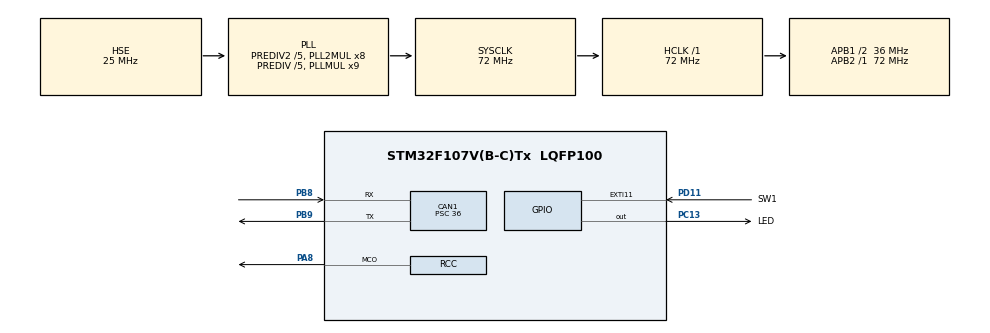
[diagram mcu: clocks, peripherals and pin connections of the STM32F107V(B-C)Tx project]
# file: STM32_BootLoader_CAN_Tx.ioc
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CAN1.BS1=CAN_BS1_6TQ
CAN1.CalculateBaudRate=125000
CAN1.CalculateTimeBit=8000
CAN1.CalculateTimeQuantum=1000.0
CAN1.Prescaler=36
Mcu.Family=STM32F1
Mcu.Name=STM32F107V(B-C)Tx
Mcu.Package=LQFP100
NVIC.CAN1_RX0_IRQn=true\:0\:0\:false\:false\:true\:true\:true\:true
NVIC.EXTI15_10_IRQn=true\:0\:0\:false\:false\:true\:true\:true\:true
NVIC.PriorityGroup=NVIC_PRIORITYGROUP_4
OSC_IN.Mode=HSE-External-Oscillator
OSC_IN.Signal=RCC_OSC_IN
OSC_OUT.Mode=HSE-External-Oscillator
OSC_OUT.Signal=RCC_OSC_OUT
PA13.Mode=JTAG_5_pins
PA13.Signal=SYS_JTMS-SWDIO
PA14.Mode=JTAG_5_pins
PA14.Signal=SYS_JTCK-SWCLK
PA15.Mode=JTAG_5_pins
PA15.Signal=SYS_JTDI
PA8.GPIO_Speed=GPIO_SPEED_FREQ_MEDIUM
PA8.Mode=Clock-out
PA8.Signal=RCC_MCO
PB3.Mode=JTAG_5_pins
PB3.Signal=SYS_JTDO
PB4.Mode=JTAG_5_pins
PB4.Signal=SYS_NJTRST
PB8.Mode=CAN_Activate
PB8.Signal=CAN1_RX
PB9.Mode=CAN_Activate
PB9.Signal=CAN1_TX
PC13-TAMPER-RTC.GPIO_Label=LED
PC13-TAMPER-RTC.Signal=GPIO_Output
PD11.GPIO_Label=SW1
PD11.Signal=GPXTI11
ProjectManager.HeapSize=0x200
ProjectManager.StackSize=0x400
ProjectManager.TargetToolchain=STM32CubeIDE
RCC.AHBFreq_Value=72000000
RCC.APB1CLKDivider=RCC_HCLK_DIV2
RCC.APB1Freq_Value=36000000
RCC.APB1TimFreq_Value=72000000
RCC.APB2Freq_Value=72000000
RCC.APB2TimFreq_Value=72000000
RCC.HCLKFreq_Value=72000000
RCC.HSEDivPLL=RCC_HSE_PREDIV_DIV5
RCC.HSE_VALUE=25000000
RCC.PLL3Mul=RCC_PLLI2S_MUL10
RCC.PLLMUL=RCC_PLL_MUL9
RCC.PLLSourceVirtual=RCC_PLLSOURCE_HSE
RCC.Prediv1Source=RCC_PREDIV1_SOURCE_PLL2
RCC.Prediv2=RCC_HSE_PREDIV2_DIV5
RCC.RCC_MCOSource=RCC_MCO1SOURCE_PLL3CLK
RCC.SYSCLKFreq_VALUE=72000000
RCC.SYSCLKSource=RCC_SYSCLKSOURCE_PLLCLK
RCC.USBFreq_Value=48000000
board=custom

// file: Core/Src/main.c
/* USER CODE BEGIN Header */
/**
  ******************************************************************************
  * @file           : main.c
  * @brief          : Main program body
  ******************************************************************************
  * @attention
  *
  * Copyright (c) 2024 STMicroelectronics.
  * All rights reserved.
  *
  * This software is licensed under terms that can be found in the LICENSE file
  * in the root directory of this software component.
  * If no LICENSE file comes with this software, it is provided AS-IS.
  *
  ******************************************************************************
  */
/* USER CODE END Header */
#include "main.h"

/* USER CODE BEGIN Includes */
#include <stdio.h>
#include <string.h>
#include <stdbool.h>
/* USER CODE END Includes */

/* USER CODE BEGIN PD */
#define FLASH_START_ADDRESS     0x08020000
#define IMAGE_SIZE              8192 // 8KB
#define MAX_BLOCK_SIZE          1024 // Block size for transmission
#define CAN_TIMEOUT             1000 // CAN timeout in milliseconds
/* USER CODE END PD */

CAN_HandleTypeDef hcan1;

/* USER CODE BEGIN PV */
uint8_t f_transmit =0;
/* USER CODE END PV */

void SystemClock_Config(void);
static void MX_GPIO_Init(void);
static void MX_CAN1_Init(void);

/* USER CODE BEGIN 0 */

// Function to read a block of data from flash memory
void Read_Flash_Block(uint32_t address, uint8_t* buffer, uint32_t length)
{
	for (uint32_t i = 0; i < length; i++)
	{
		buffer[i] = *(uint8_t*)(address + i);
	}
}

// Function to transmit data block over CAN1
void Transmit_Data_CAN1_Block(uint8_t* data, uint32_t length)
{
    CAN_TxHeaderTypeDef TxHeader;
    uint32_t TxMailbox;
    TxHeader.DLC = 8;
    TxHeader.IDE = CAN_ID_STD;
    TxHeader.StdId = 0x321; // Standard CAN ID
    TxHeader.RTR = CAN_RTR_DATA;
    TxHeader.TransmitGlobalTime = DISABLE;  // Disable timestamp

    for (uint32_t i = 0; i < length; i += 8)
    {
        uint8_t frame[8];
        uint32_t frame_size = (length - i) > 8 ? 8 : (length - i);
        memcpy(frame, &data[i], frame_size);
        if (HAL_CAN_AddTxMessage(&hcan1, &TxHeader, frame, &TxMailbox) != HAL_OK)
        {
        	Error_Handler(); // Handle CAN transmission error
        }
        while (HAL_CAN_IsTxMessagePending(&hcan1, TxMailbox))
        {
        	// Wait until transmission is complete
        }
       HAL_GPIO_WritePin(LED_GPIO_Port, LED_Pin,GPIO_PIN_SET);
    }
    HAL_GPIO_WritePin(LED_GPIO_Port, LED_Pin,GPIO_PIN_RESET);
}

// Main function to read from flash and transmit via CAN1
void Transmit_Flash_Image(void)
{
    uint8_t buffer[MAX_BLOCK_SIZE] = {0};
    uint32_t address = FLASH_START_ADDRESS;
    uint32_t remaining = IMAGE_SIZE;

    while (remaining > 0)
    {
    	uint32_t block_size = (remaining > MAX_BLOCK_SIZE) ? MAX_BLOCK_SIZE : remaining;
    	Read_Flash_Block(address, buffer, block_size);
    	Transmit_Data_CAN1_Block(buffer, block_size);
    	address += block_size;
    	remaining -= block_size;
    	HAL_Delay(500);
    }
}

void HAL_GPIO_EXTI_Callback(uint16_t GPIO_Pin)
{
	if (GPIO_Pin == SW1_Pin)
	{
		f_transmit = 1;
	}
}

/* USER CODE END 0 */

int main(void)
{

  /* MCU Configuration--------------------------------------------------------*/

  /* Reset of all peripherals, Initializes the Flash interface and the Systick. */
  HAL_Init();

  /* Configure the system clock */
  SystemClock_Config();

  /* Initialize all configured peripherals */
  MX_GPIO_Init();
  MX_CAN1_Init();
  /* USER CODE BEGIN 2 */

  HAL_CAN_Start(&hcan1);

  /* USER CODE END 2 */

  /* Infinite loop */
  /* USER CODE BEGIN WHILE */
  while (1)
  {
	  if(f_transmit == 1)
	  {
		  Transmit_Flash_Image();
		  f_transmit =0;
	  }

	  /* USER CODE END WHILE */

  }
}

void SystemClock_Config(void)
{
  RCC_OscInitTypeDef RCC_OscInitStruct = {0};
  RCC_ClkInitTypeDef RCC_ClkInitStruct = {0};

  /** Initializes the RCC Oscillators according to the specified parameters
  * in the RCC_OscInitTypeDef structure.
  */
  RCC_OscInitStruct.OscillatorType = RCC_OSCILLATORTYPE_HSE;
  RCC_OscInitStruct.HSEState = RCC_HSE_ON;
  RCC_OscInitStruct.HSEPredivValue = RCC_HSE_PREDIV_DIV5;
  RCC_OscInitStruct.HSIState = RCC_HSI_ON;
  RCC_OscInitStruct.Prediv1Source = RCC_PREDIV1_SOURCE_PLL2;
  RCC_OscInitStruct.PLL.PLLState = RCC_PLL_ON;
  RCC_OscInitStruct.PLL.PLLSource = RCC_PLLSOURCE_HSE;
  RCC_OscInitStruct.PLL.PLLMUL = RCC_PLL_MUL9;
  RCC_OscInitStruct.PLL2.PLL2State = RCC_PLL2_ON;
  RCC_OscInitStruct.PLL2.PLL2MUL = RCC_PLL2_MUL8;
  RCC_OscInitStruct.PLL2.HSEPrediv2Value = RCC_HSE_PREDIV2_DIV5;
  if (HAL_RCC_OscConfig(&RCC_OscInitStruct) != HAL_OK)
  {
    Error_Handler();
  }

  /** Initializes the CPU, AHB and APB buses clocks
  */
  RCC_ClkInitStruct.ClockType = RCC_CLOCKTYPE_HCLK|RCC_CLOCKTYPE_SYSCLK
                              |RCC_CLOCKTYPE_PCLK1|RCC_CLOCKTYPE_PCLK2;
  RCC_ClkInitStruct.SYSCLKSource = RCC_SYSCLKSOURCE_PLLCLK;
  RCC_ClkInitStruct.AHBCLKDivider = RCC_SYSCLK_DIV1;
  RCC_ClkInitStruct.APB1CLKDivider = RCC_HCLK_DIV2;
  RCC_ClkInitStruct.APB2CLKDivider = RCC_HCLK_DIV1;

  if (HAL_RCC_ClockConfig(&RCC_ClkInitStruct, FLASH_LATENCY_2) != HAL_OK)
  {
    Error_Handler();
  }
  HAL_RCC_MCOConfig(RCC_MCO, RCC_MCO1SOURCE_PLL3CLK, RCC_MCODIV_1);

  /** Configure the Systick interrupt time
  */
  __HAL_RCC_HSE_PREDIV2_CONFIG(RCC_HSE_PREDIV2_DIV5);

  /** Configure the Systick interrupt time
  */
  __HAL_RCC_PLLI2S_CONFIG(RCC_PLLI2S_MUL10);

  /** Configure the Systick interrupt time
  */
  __HAL_RCC_PLLI2S_ENABLE();
}

static void MX_CAN1_Init(void)
{

  hcan1.Instance = CAN1;
  hcan1.Init.Prescaler = 36;
  hcan1.Init.Mode = CAN_MODE_NORMAL;
  hcan1.Init.SyncJumpWidth = CAN_SJW_1TQ;
  hcan1.Init.TimeSeg1 = CAN_BS1_6TQ;
  hcan1.Init.TimeSeg2 = CAN_BS2_1TQ;
  hcan1.Init.TimeTriggeredMode = DISABLE;
  hcan1.Init.AutoBusOff = DISABLE;
  hcan1.Init.AutoWakeUp = DISABLE;
  hcan1.Init.AutoRetransmission = DISABLE;
  hcan1.Init.ReceiveFifoLocked = DISABLE;
  hcan1.Init.TransmitFifoPriority = DISABLE;
  if (HAL_CAN_Init(&hcan1) != HAL_OK)
  {
    Error_Handler();
  }

}

static void MX_GPIO_Init(void)
{
  GPIO_InitTypeDef GPIO_InitStruct = {0};

  /* GPIO Ports Clock Enable */
  __HAL_RCC_GPIOC_CLK_ENABLE();
  __HAL_RCC_GPIOD_CLK_ENABLE();
  __HAL_RCC_GPIOA_CLK_ENABLE();
  __HAL_RCC_GPIOB_CLK_ENABLE();

  /*Configure GPIO pin Output Level */
  HAL_GPIO_WritePin(LED_GPIO_Port, LED_Pin, GPIO_PIN_RESET);

  /*Configure GPIO pin : LED_Pin */
  GPIO_InitStruct.Pin = LED_Pin;
  GPIO_InitStruct.Mode = GPIO_MODE_OUTPUT_PP;
  GPIO_InitStruct.Pull = GPIO_NOPULL;
  GPIO_InitStruct.Speed = GPIO_SPEED_FREQ_LOW;
  HAL_GPIO_Init(LED_GPIO_Port, &GPIO_InitStruct);

  /*Configure GPIO pin : SW1_Pin */
  GPIO_InitStruct.Pin = SW1_Pin;
  GPIO_InitStruct.Mode = GPIO_MODE_IT_RISING;
  GPIO_InitStruct.Pull = GPIO_NOPULL;
  HAL_GPIO_Init(SW1_GPIO_Port, &GPIO_InitStruct);

  /*Configure GPIO pin : PA8 */
  GPIO_InitStruct.Pin = GPIO_PIN_8;
  GPIO_InitStruct.Mode = GPIO_MODE_AF_PP;
  GPIO_InitStruct.Speed = GPIO_SPEED_FREQ_MEDIUM;
  HAL_GPIO_Init(GPIOA, &GPIO_InitStruct);

  /* EXTI interrupt init*/
  HAL_NVIC_SetPriority(EXTI15_10_IRQn, 0, 0);
  HAL_NVIC_EnableIRQ(EXTI15_10_IRQn);

}

void Error_Handler(void)
{
  __disable_irq();
  while (1)
  {
  }
}
